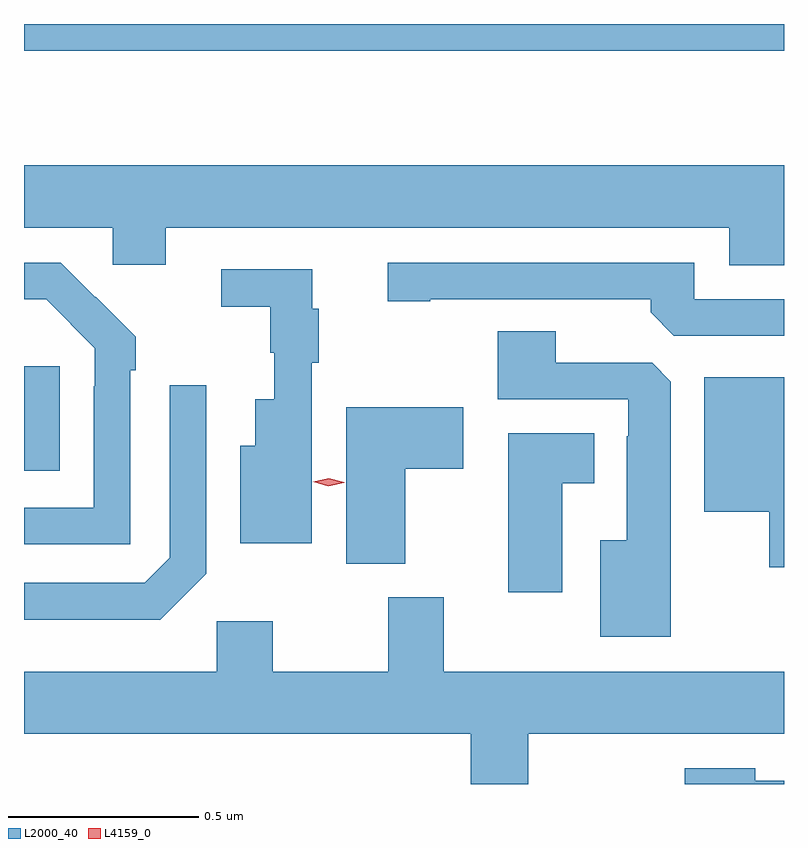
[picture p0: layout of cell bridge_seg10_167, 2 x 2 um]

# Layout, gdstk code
import gdstk
lib = gdstk.Library(unit=1e-6, precision=1e-09)
def R(c, l, rs):  # rectangles x0, y0, x1, y1
    for r in rs: c.add(gdstk.rectangle(r[:2], r[2:], *l))
def P(c, l, *ps):  # polygons
    for p in ps: c.add(gdstk.Polygon(p, *l))
L2000_40 = (2000, 40)
L4159_0 = (4159, 0)

bridge_seg10_167 = lib.new_cell('bridge_seg10_167')
R(bridge_seg10_167, L2000_40, [(238.659,1271.705,238.753,1271.98), (238.659,1272.81,240.659,1272.88)])
P(bridge_seg10_167, L2000_40, [(240.659,1272.508),(238.659,1272.508),(238.659,1272.344),(238.893,1272.344),(238.893,1272.246),(239.032,1272.246),(239.032,1272.344),(240.515,1272.344),(240.515,1272.245),(240.659,1272.245)],
  [(240.659,1272.156),(240.423,1272.156),(240.423,1272.252),(239.616,1272.252),(239.616,1272.151),(239.728,1272.151),(239.728,1272.156),(240.308,1272.156),(240.308,1272.122),(240.369,1272.06),(240.659,1272.06)],
  [(238.938,1271.969),(238.953,1271.969),(238.953,1272.057),(238.848,1272.162),(238.847,1272.161),(238.756,1272.252),(238.659,1272.252),(238.659,1272.156),(238.717,1272.156),(238.845,1272.027),(238.845,1271.927),(238.842,1271.927),(238.842,1271.607),(238.659,1271.607),(238.659,1271.511),(238.938,1271.511)],
  [(239.416,1271.989),(239.435,1271.989),(239.435,1272.131),(239.417,1272.131),(239.417,1272.234),(239.178,1272.234),(239.178,1272.136),(239.307,1272.136),(239.307,1272.015),(239.318,1272.015),(239.318,1271.893),(239.267,1271.893),(239.267,1271.77),(239.228,1271.77),(239.228,1271.513),(239.416,1271.513)],
  [(240.361,1271.939),(240.312,1271.988),(240.058,1271.988),(240.058,1272.071),(239.906,1272.071),(239.906,1271.892),(240.249,1271.892),(240.249,1271.795),(240.245,1271.795),(240.245,1271.521),(240.176,1271.521),(240.176,1271.267),(240.361,1271.267)],
  [(240.659,1271.95),(240.449,1271.95),(240.449,1271.597),(240.62,1271.597),(240.62,1271.451),(240.659,1271.451)],
  [(239.139,1271.433),(239.139,1271.929),(239.043,1271.929),(239.043,1271.475),(238.977,1271.409),(238.659,1271.409),(238.659,1271.312),(239.018,1271.312)],
  [(239.662,1271.71),(239.815,1271.71),(239.815,1271.872),(239.507,1271.872),(239.507,1271.459),(239.662,1271.459)],
  [(240.076,1271.672),(240.16,1271.672),(240.16,1271.803),(239.933,1271.803),(239.933,1271.385),(240.076,1271.385)],
  [(239.986,1271.012),(240.659,1271.012),(240.659,1271.176),(239.764,1271.176),(239.764,1271.371),(239.617,1271.371),(239.617,1271.176),(239.313,1271.176),(239.313,1271.308),(239.166,1271.308),(239.166,1271.176),(238.659,1271.176),(238.659,1271.012),(239.834,1271.012),(239.834,1270.88),(239.986,1270.88)],
  [(240.659,1270.888),(240.583,1270.888),(240.583,1270.921),(240.398,1270.921),(240.398,1270.88),(240.659,1270.88)])
P(bridge_seg10_167, L4159_0, [(239.46,1271.664),(239.42,1271.675),(239.419,1271.675),(239.42,1271.676),(239.461,1271.684),(239.502,1271.674),(239.502,1271.674),(239.502,1271.673)])

lib.write_gds('bridge_seg10_167.gds')
